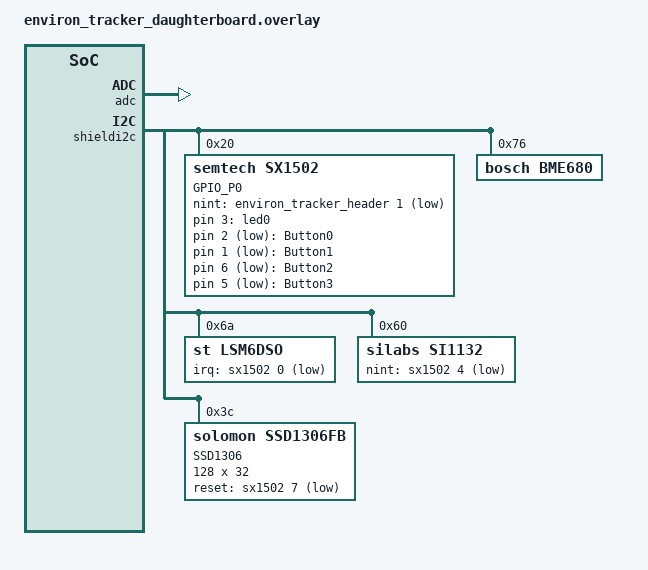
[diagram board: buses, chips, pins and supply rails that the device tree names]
/ {
    aliases {
        led0 = &led0;
        sw0 = &button0;
    };

    /* NOTE unsure */
    // mic {
    //     compatible = "voltage-divider";
    //     io-channels = <&adc 0>;
    //     output-ohms = <>;
    //     full-ohms = <()>;
    // };

    leds {
        compatible = "gpio-leds";
        led0: led_0 {
             gpios = <&sx1502 3 GPIO_ACTIVE_HIGH>;
            label = "led0";
        };
    };

    buttons {
        compatible = "gpio-keys";
        button0: button_0 {
            gpios = <&sx1502 2 GPIO_ACTIVE_LOW>;
            label = "Button0";
        };
        button1: button_1 {
            gpios = <&sx1502 1 GPIO_ACTIVE_LOW>;
            label = "Button1";
        };
        button2: button_2 {
            gpios = <&sx1502 6 GPIO_ACTIVE_LOW>;
            label = "Button2";
        };
        button3: button_3 {
            gpios = <&sx1502 5 GPIO_ACTIVE_LOW>;
            label = "Button3";
        };
    };
};

&adc {
    status = "okay";
};

&shieldi2c {
    status = "okay";

    sx1502: sx1502@20 {
        compatible = "semtech,sx1502";
        reg = <0x20>;
        label = "GPIO_P0";
        gpio-controller;
        #gpio-cells = <2>;
        ngpios = <8>;
        nint-gpios = <&environ_tracker_header 1 GPIO_ACTIVE_LOW>;
        /* Setup init states */
        init-out-high = <0xff>;
        init-out-low = <0x00>;
    };

    bme680: bme680@76 {
        compatible = "bosch,bme680";
        reg = <0x76>;
        label = "BME680";
    };

    lsm6dso: lsm6dso@6a {
        compatible = "st,lsm6dso";
        reg = <0x6a>;
        label = "LSM6DSO";
        irq-gpios = <&sx1502 0 GPIO_ACTIVE_LOW>;
    };

    si1132: si1132@60 {
        compatible = "silabs,si1132";
        reg = <0x60>;
        label = "Si1132";
        nint-gpios = <&sx1502 4 GPIO_ACTIVE_LOW>;
    };

    ssd1306: ssd1306@3c {
        compatible = "solomon,ssd1306fb";
        reg = <0x3c>;
        label = "SSD1306";
        height = <32>;
        width = <128>;
        segment-offset = <0>;
        page-offset = <0>;
        display-offset = <0>;
        multiplex-ratio = <31>;
        prechargep = <0xd1>;
        segment-remap;
        com-invdir;
        com-sequential;
        reset-gpios = <&sx1502 7 GPIO_ACTIVE_LOW>;
    };
};
